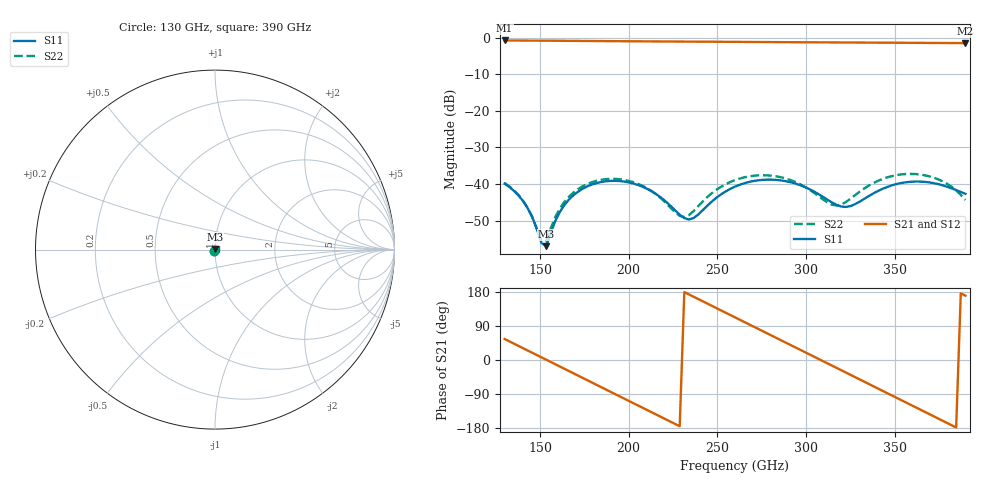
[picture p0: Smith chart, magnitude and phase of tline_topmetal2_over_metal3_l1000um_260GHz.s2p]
#  GHZ S DB R 50
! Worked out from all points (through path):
!   101 points, 130 GHz to 390 GHz, reference 50 ohm
!   highest |S21| = -0.77 dB at 130 GHz (marker M1); lowest = -1.5 dB at 390 GHz (marker M2)
!   group delay of S21, straight-line fit = 6.47 ps
!   lowest |S11| = -57.0 dB at 153.4 GHz (marker M3), VSWR 1.00, Z = 50.1 + j0.118 ohm
!   |S11| at or under -10 dB: start of sweep to end of sweep
!   |S22| runs from -55.9 to -37.2 dB; largest |S21 - S12| = 1.6e-13
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130  -39.93 -140.2  -0.77 55.4  -0.77 55.4  -39.75 -140.3
140.4  -44.68 -173.5  -0.80 31.2  -0.80 31.2  -44.57 -174.1
150.8  -56.16 112.0  -0.82 6.9  -0.82 6.9  -55.86 104.2
153.4  -57.01 56.3  -0.83 0.9  -0.83 0.9  -55.65 50.5
161.2  -47.62 -18.7  -0.86 -17.3  -0.86 -17.3  -46.70 -17.4
174.2  -41.26 -66.0  -0.90 -47.6  -0.90 -47.6  -40.59 -63.9
195  -39.21 -131.1  -0.97 -96.1  -0.97 -96.1  -38.71 -128.0
205.4  -40.31 -164.9  -1.00 -120.3  -1.00 -120.3  -40.00 -161.5
218.4  -43.79 146.7  -1.04 -150.5  -1.04 -150.5  -44.01 148.5
228.8  -48.42 87.9  -1.07 -174.7  -1.07 -174.7  -48.73 79.4
234  -49.71 42.2  -1.08 173.1  -1.08 173.1  -48.53 29.9
247  -44.78 -50.6  -1.12 142.9  -1.12 142.9  -42.51 -48.7
260  -40.74 -103.1  -1.15 112.6  -1.15 112.6  -38.95 -96.1
280.8  -38.83 -173.7  -1.21 64.1  -1.21 64.1  -37.75 -163.3
304.2  -41.97 100.1  -1.28 9.7  -1.28 9.7  -42.28 109.2
314.6  -45.03 46.1  -1.30 -14.5  -1.30 -14.5  -45.66 44.2
322.4  -46.29 -8.9  -1.32 -32.7  -1.32 -32.7  -44.99 -16.8
335.4  -43.34 -91.4  -1.35 -63.0  -1.35 -63.0  -40.48 -85.2
348.4  -40.40 -146.7  -1.39 -93.3  -1.39 -93.3  -37.86 -131.1
358.8  -39.41 175.6  -1.41 -117.5  -1.41 -117.5  -37.25 -163.3
371.8  -39.75 128.8  -1.45 -147.8  -1.45 -147.8  -38.23 158.0
390  -42.69 49.7  -1.49 169.8  -1.49 169.8  -44.40 97.4
